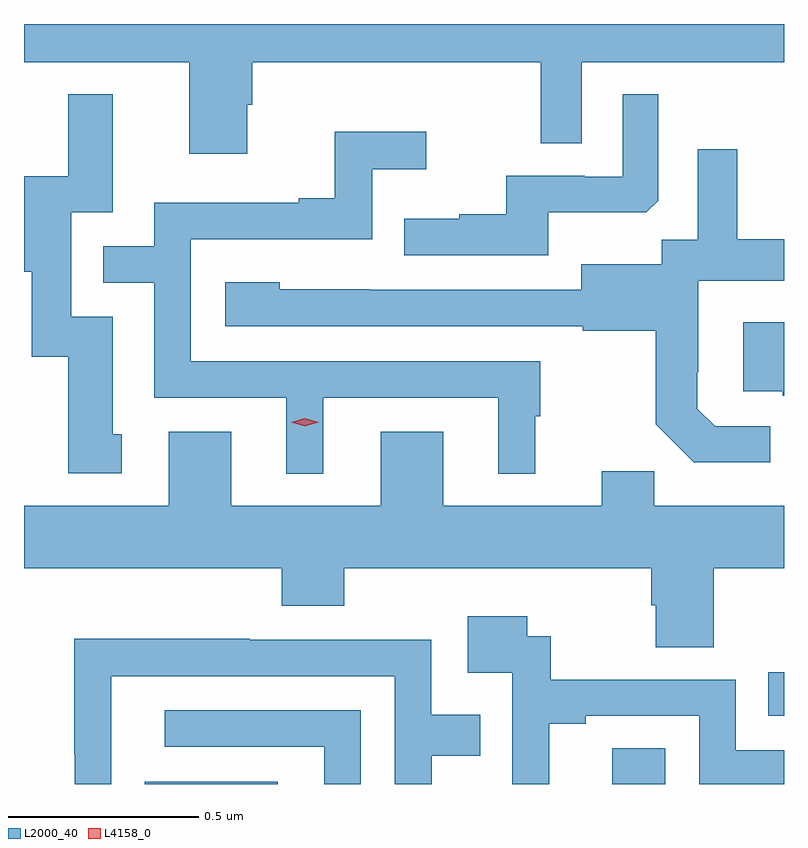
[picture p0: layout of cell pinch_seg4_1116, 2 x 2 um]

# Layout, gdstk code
import gdstk
lib = gdstk.Library(unit=1e-6, precision=1e-09)
def R(c, l, rs):  # rectangles x0, y0, x1, y1
    for r in rs: c.add(gdstk.rectangle(r[:2], r[2:], *l))
def P(c, l, *ps):  # polygons
    for p in ps: c.add(gdstk.Polygon(p, *l))
L2000_40 = (2000, 40)
L4158_0 = (4158, 0)

pinch_seg4_1116 = lib.new_cell('pinch_seg4_1116')
R(pinch_seg4_1116, L2000_40, [(544.028,804.244,544.378,804.25), (545.258,804.244,545.398,804.338), (545.668,804.423,545.71,804.538)])
P(pinch_seg4_1116, L2000_40, [(544.297,806.031),(544.31,806.031),(544.31,806.144),(545.07,806.144),(545.07,805.93),(545.178,805.93),(545.178,806.144),(545.71,806.144),(545.71,806.244),(543.71,806.244),(543.71,806.144),(544.145,806.144),(544.145,805.902),(544.297,805.902)],
  [(545.089,805.748),(545.347,805.748),(545.379,805.779),(545.379,806.059),(545.286,806.059),(545.286,805.842),(545.186,805.842),(545.186,805.845),(544.979,805.845),(544.979,805.744),(544.855,805.744),(544.855,805.732),(544.711,805.732),(544.711,805.635),(545.089,805.635)],
  [(543.967,805.164),(543.943,805.164),(543.943,805.473),(543.834,805.473),(543.834,805.749),(543.943,805.749),(543.943,806.059),(543.827,806.059),(543.827,805.843),(543.71,805.843),(543.71,805.592),(543.731,805.592),(543.731,805.368),(543.827,805.368),(543.827,805.062),(543.967,805.062)],
  [(544.498,805.26),(544.958,805.26),(544.958,805.061),(545.056,805.061),(545.056,805.212),(545.068,805.212),(545.068,805.356),(544.149,805.356),(544.149,805.677),(544.626,805.677),(544.626,805.862),(544.768,805.862),(544.768,805.961),(544.528,805.961),(544.528,805.786),(544.433,805.786),(544.433,805.773),(544.053,805.773),(544.053,805.659),(543.919,805.659),(543.919,805.563),(544.053,805.563),(544.053,805.26),(544.4,805.26),(544.4,805.061),(544.498,805.061)],
  [(545.674,805.185),(545.529,805.185),(545.482,805.232),(545.482,805.327),(545.484,805.327),(545.484,805.568),(545.71,805.568),(545.71,805.678),(545.587,805.678),(545.587,805.915),(545.483,805.915),(545.483,805.676),(545.388,805.676),(545.388,805.612),(545.177,805.612),(545.177,805.545),(544.619,805.545),(544.619,805.546),(544.383,805.546),(544.383,805.564),(544.239,805.564),(544.239,805.449),(545.181,805.449),(545.181,805.437),(545.373,805.437),(545.373,805.191),(545.473,805.091),(545.674,805.091)],
  [(545.71,805.459),(545.603,805.459),(545.603,805.278),(545.707,805.278),(545.707,805.266),(545.71,805.266)],
  [(545.36,804.714),(545.372,804.714),(545.372,804.604),(545.525,804.604),(545.525,804.812),(545.71,804.812),(545.71,804.976),(545.369,804.976),(545.369,805.067),(545.231,805.067),(545.231,804.976),(544.813,804.976),(544.813,805.171),(544.649,805.171),(544.649,804.976),(544.255,804.976),(544.255,805.171),(544.091,805.171),(544.091,804.976),(543.71,804.976),(543.71,804.812),(544.388,804.812),(544.388,804.713),(544.553,804.713),(544.553,804.812),(545.36,804.812)],
  [(545.092,804.403),(545.188,804.403),(545.188,804.423),(545.487,804.423),(545.487,804.244),(545.71,804.244),(545.71,804.333),(545.583,804.333),(545.583,804.519),(545.096,804.519),(545.096,804.633),(545.034,804.633),(545.034,804.685),(544.878,804.685),(544.878,804.537),(544.995,804.537),(544.995,804.244),(545.092,804.244)],
  [(543.939,804.528),(544.686,804.528),(544.686,804.244),(544.783,804.244),(544.783,804.318),(544.91,804.318),(544.91,804.426),(544.782,804.426),(544.782,804.624),(544.304,804.624),(544.304,804.626),(543.842,804.626),(543.842,804.322),(543.843,804.322),(543.843,804.244),(543.939,804.244)],
  [(544.596,804.438),(544.08,804.438),(544.08,804.342),(544.5,804.342),(544.5,804.244),(544.596,804.244)])
P(pinch_seg4_1116, L4158_0, [(544.449,805.186),(544.413,805.196),(544.413,805.196),(544.413,805.196),(544.449,805.206),(544.485,805.196),(544.485,805.196),(544.485,805.196)])

lib.write_gds('pinch_seg4_1116.gds')
